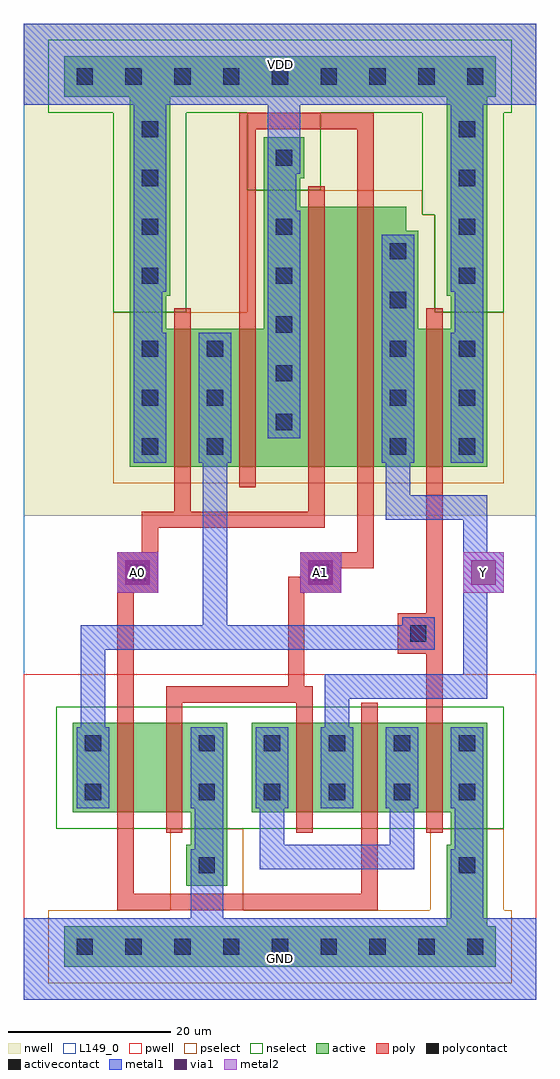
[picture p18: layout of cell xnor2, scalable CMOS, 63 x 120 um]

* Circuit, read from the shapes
.subckt xnor2 A0 A1 GND VDD Y
M1 n1 A0 n2 GND nfet w=11u l=2u
M2 GND A1 n1 GND nfet w=11u l=2u
M3 Y A1 n3 GND nfet w=11u l=2u
M4 n3 A0 Y GND nfet w=11u l=2u
M5 GND n2 n3 GND nfet w=11u l=2u
M6 n2 A0 VDD VDD pfet w=17u l=2u
M7 VDD A1 n2 VDD pfet w=17u l=2u
M8 n4 A0 VDD VDD pfet w=32u l=2u
M9 Y A1 n4 VDD pfet w=32u l=2u
M10 VDD n2 Y VDD pfet w=17u l=2u
.ends

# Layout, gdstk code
from math import pi, radians
import gdstk
lib = gdstk.Library(unit=1e-6, precision=1e-09)
def R(c, l, rs):  # rectangles x0, y0, x1, y1
    for r in rs: c.add(gdstk.rectangle(r[:2], r[2:], *l))
def A(c, l, x, y, w, h, nx, ny, dx, dy):  # array of equal rectangles
    R(c, l, [(x+i*dx, y+j*dy, x+i*dx+w, y+j*dy+h) for i in range(nx) for j in range(ny)])
def P(c, l, *ps):  # polygons
    for p in ps: c.add(gdstk.Polygon(p, *l))
pwell = (41, 0)
nwell = (42, 0)
active = (43, 0)
pselect = (44, 0)
nselect = (45, 0)
poly = (46, 0)
polycontact = (47, 0)
activecontact = (48, 0)
metal1 = (49, 0)
via1 = (50, 0)
metal2 = (51, 0)
L149_0 = (149, 0)

via = lib.new_cell('via')
R(via, metal1, [(-2.5,-2.5,2.5,2.5)])
R(via, via1, [(-1.5,-1.5,1.5,1.5)])
R(via, metal2, [(-2.5,-2.5,2.5,2.5)])

xnor2 = lib.new_cell('xnor2')
R(xnor2, pwell, [(0,0,63,40), (0,17,31,40), (22,17,63,40)])
R(xnor2, nwell, [(0,59.5,63,120)])
P(xnor2, nwell, [(63,59.5),(63,88.5),(54.5,88.5),(54.5,100.5),(53,100.5),(53,103.5),(23.5,103.5),(23.5,88.5),(7,88.5),(7,59.5)])
R(xnor2, active, [(5,4,58,9), (52,9,57,19), (20,14,25,19), (20.5,19,25,23), (52.5,19,57,23), (6,23,11.5,34), (6,23,25,34), (19.5,23,25,34), (28,23,33.5,34), (28,23,57,34), (51.5,23,57,34), (13,65.5,18.5,82.5), (51.5,65.5,57,82.5), (13,82.5,17.5,86.5), (52.5,82.5,57,86.5), (13,86.5,18,111), (52,86.5,57,111), (29.5,97.5,34,101), (29.5,101,34.5,106), (5,111,58,116)])
P(xnor2, active, [(57,65.5),(57,82.5),(48.5,82.5),(48.5,94.5),(47,94.5),(47,97.5),(29.5,97.5),(29.5,82.5),(13,82.5),(13,65.5)])
R(xnor2, pselect, [(3,2,60,11), (18,11,27,21), (50,11,59,21)])
P(xnor2, pselect, [(59,63.5),(59,84.5),(50.5,84.5),(50.5,96.5),(49,96.5),(49,99.5),(27.5,99.5),(27.5,84.5),(11,84.5),(11,63.5)])
R(xnor2, nselect, [(4,21,27,36), (26,21,59,36), (11,84.5,20,109), (27.5,99.5,36.5,109), (3,109,60,118)])
P(xnor2, nselect, [(49,96.5),(50.5,96.5),(50.5,84.5),(59,84.5),(59,109),(49,109)])
A(xnor2, poly, 33.5, 20.5, 2, 2.5, 3, 2, 8, 13.5)
A(xnor2, poly, 33.5, 23, 2, 11, 3, 1, 8, 0)
R(xnor2, poly, [(11.5,20.5,13.5,23), (17.5,20.5,19.5,23), (11.5,23,13.5,34), (17.5,23,19.5,34), (11.5,34,13.5,36.5), (17.5,34,19.5,36.5), (46,42.5,51,47.5), (11.5,50,16.5,55), (34,50,39,55), (18.5,63,20.5,65.5), (26.5,63,28.5,65.5), (35,63,37,65.5), (41,63,43,65.5), (49.5,63,51.5,65.5), (18.5,65.5,20.5,82.5), (26.5,65.5,28.5,82.5), (35,65.5,37,97.5), (41,65.5,43,97.5), (49.5,65.5,51.5,82.5), (18.5,82.5,20.5,85), (26.5,82.5,28.5,85), (49.5,82.5,51.5,85), (35,97.5,37,100), (41,97.5,43,100)])
R(xnor2, polycontact, [(47.5,44,49.5,46), (13,51.5,15,53.5), (35.5,51.5,37.5,53.5)])
A(xnor2, activecontact, 6.5, 5.5, 2, 2, 9, 2, 6, 107)
A(xnor2, activecontact, 21.5, 24.5, 2, 2, 5, 2, 8, 6)
A(xnor2, activecontact, 14.5, 67, 2, 2, 1, 3, 0, 6)
A(xnor2, activecontact, 22.5, 67, 2, 2, 1, 3, 0, 6)
A(xnor2, activecontact, 45, 67, 2, 2, 1, 5, 0, 6)
A(xnor2, activecontact, 53.5, 67, 2, 2, 1, 3, 0, 6)
A(xnor2, activecontact, 31, 70, 2, 2, 1, 5, 0, 6)
A(xnor2, activecontact, 14.5, 88, 2, 2, 1, 4, 0, 6)
A(xnor2, activecontact, 53.5, 88, 2, 2, 1, 4, 0, 6)
R(xnor2, activecontact, [(21.5,15.5,23.5,17.5), (53.5,15.5,55.5,17.5), (7.5,24.5,9.5,26.5), (7.5,30.5,9.5,32.5), (31,102.5,33,104.5)])
A(xnor2, metal1, 20.5, 23.5, 4, 10, 5, 1, 8, 0)
R(xnor2, metal1, [(0,0,63,10), (20.5,10,24.5,14.5), (52.5,10,56.5,18.5), (20.5,14.5,24.5,18.5), (21,18.5,24.5,23.5), (53,18.5,56.5,23.5), (6.5,23.5,10.5,33.5), (46.5,43,50.5,47), (12,50.5,16,54.5), (34.5,50.5,38.5,54.5), (13.5,66,17.5,82), (21.5,66,25.5,82), (44,66,48,94), (52.5,66,56.5,82), (30,69,34,97), (13.5,82,17,87), (53,82,56.5,87), (13.5,87,17.5,110), (52.5,87,56.5,110), (30,97,33.5,101.5), (30,101.5,34,105.5), (30,105.5,34,110), (0,110,63,120)])
R(xnor2, metal2, [(11.5,50,16.5,55), (34,50,39,55), (54,50,59,55)])
R(xnor2, L149_0, [(0,0,63,120)])
xnor2.add(gdstk.FlexPath([(42,63),(42,54),(39,54)], 2, ends="flush", simple_path=True, layer=46, datatype=0))  # poly
xnor2.add(gdstk.FlexPath([(12.5,36.5),(12.5,50)], 2, ends="flush", simple_path=True, layer=46, datatype=0))  # poly
xnor2.add(gdstk.FlexPath([(35.5,37.5),(17.5,37.5)], 2, ends="flush", simple_path=True, layer=46, datatype=0))  # poly
xnor2.add(gdstk.FlexPath([(12.5,20.5),(12.5,12),(42.5,12),(42.5,20.5)], 2, ends="flush", simple_path=True, layer=46, datatype=0))  # poly
xnor2.add(gdstk.FlexPath([(36,63),(36,59),(19.5,59),(19.5,63)], 2, ends="flush", simple_path=True, layer=46, datatype=0))  # poly
xnor2.add(gdstk.FlexPath([(33.5,38.5),(33.5,52)], 2, ends="flush", simple_path=True, layer=46, datatype=0))  # poly
xnor2.add(gdstk.FlexPath([(42,100),(42,108),(27.5,108),(27.5,85)], 2, ends="flush", simple_path=True, layer=46, datatype=0))  # poly
xnor2.add(gdstk.FlexPath([(18.5,59),(15.5,59),(15.5,55)], 2, ends="flush", simple_path=True, layer=46, datatype=0))  # poly
xnor2.add(gdstk.FlexPath([(50.5,63),(50.5,36.5)], 2, ends="flush", simple_path=True, layer=46, datatype=0))  # poly
xnor2.add(gdstk.FlexPath([(23.5,66),(23.5,46)], 3, ends="flush", simple_path=True, layer=49, datatype=0))  # metal1
xnor2.add(gdstk.FlexPath([(46.5,44.5),(8.5,44.5),(8.5,33.5)], 3, ends="flush", simple_path=True, layer=49, datatype=0))  # metal1
xnor2.add(gdstk.FlexPath([(46.5,23.5),(46.5,17.5),(30.5,17.5),(30.5,23.5)], 3, ends="flush", simple_path=True, layer=49, datatype=0))  # metal1
xnor2.add(gdstk.FlexPath([(46,66),(46,60.5),(55.5,60.5),(55.5,55)], 3, ends="flush", simple_path=True, layer=49, datatype=0))  # metal1
xnor2.add(gdstk.FlexPath([(55.5,50),(55.5,38.5),(38.5,38.5),(38.5,33.5)], 3, ends="flush", simple_path=True, layer=49, datatype=0))  # metal1
xnor2.add(gdstk.Reference(via, (14,52.5)))
xnor2.add(gdstk.Reference(via, (36.5,52.5), rotation=pi, x_reflection=True))
xnor2.add(gdstk.Reference(via, (56.5,52.5)))
xnor2.add(gdstk.Label('GND', (31.5,5), layer=2, texttype=0))
xnor2.add(gdstk.Label('VDD', (31.5,115), layer=2, texttype=0))
xnor2.add(gdstk.Label('A0', (14,52.5), layer=3, texttype=0))
xnor2.add(gdstk.Label('Y', (56.5,52.5), layer=3, texttype=0))
xnor2.add(gdstk.Label('A1', (36.5,52.5), layer=3, texttype=0))
xnor2.add(gdstk.Label('GND', (31.5,5), layer=2, texttype=0))
xnor2.add(gdstk.Label('VDD', (31.5,115), layer=2, texttype=0))
xnor2.add(gdstk.Label('A0', (14,52.5), layer=3, texttype=0))
xnor2.add(gdstk.Label('Y', (56.5,52.5), layer=3, texttype=0))
xnor2.add(gdstk.Label('A1', (36.5,52.5), layer=3, texttype=0))

lib.write_gds('xnor2.gds')
